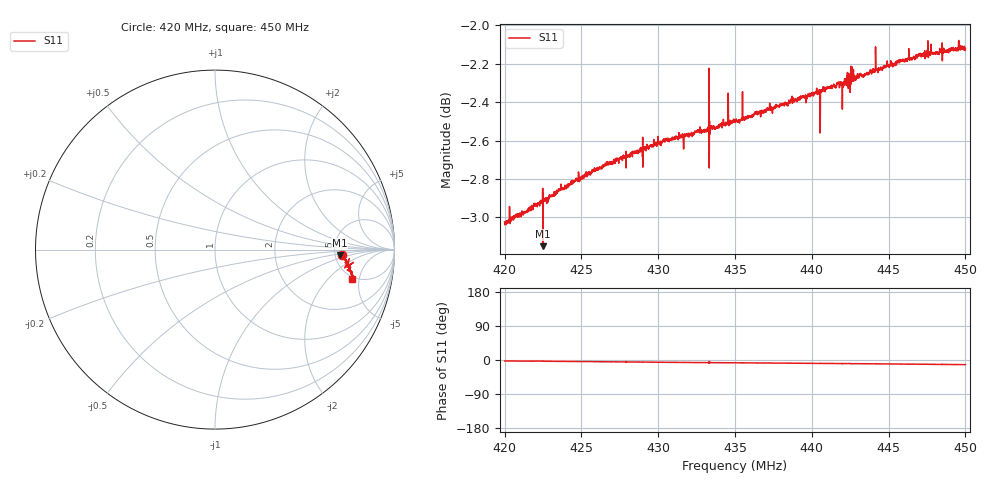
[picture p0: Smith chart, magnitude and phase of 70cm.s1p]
! Calibrated averaged scanner-service zoom
# Hz S RI R 50
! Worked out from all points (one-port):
!   3001 points, 420 MHz to 450 MHz, reference 50 ohm
!   lowest |S11| = -3.1 dB at 422.5 MHz (marker M1), VSWR 5.58, Z = 275 - j32.3 ohm
!   |S11| at or under -10 dB: nowhere
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4.2e8  0.7053 -0.032
4.2249e8  0.6952 -0.0303
4.2375e8  0.7185 -0.0457
4.275e8  0.7305 -0.0638
4.2986e8  0.7362 -0.0757
4.3125e8  0.7382 -0.0819
4.33e8  0.7398 -0.0887
4.3315e8  0.74 -0.0898
4.3318e8  0.74 -0.09
4.332e8  0.741 -0.0903
4.3346e8  0.7422 -0.0916
4.3349e8  0.7415 -0.0918
4.3354e8  0.7413 -0.0898
4.35e8  0.7434 -0.0962
4.3717e8  0.7476 -0.1052
4.3746e8  0.748 -0.1062
4.3875e8  0.7526 -0.1112
4.4036e8  0.7533 -0.1179
4.4048e8  0.755 -0.1184
4.4067e8  0.7545 -0.1196
4.4075e8  0.7552 -0.1183
4.4191e8  0.7574 -0.1248
4.4237e8  0.7584 -0.1311
4.425e8  0.7532 -0.122
4.4405e8  0.7602 -0.1357
4.4625e8  0.7646 -0.1464
4.4762e8  0.7653 -0.1537
4.5e8  0.7655 -0.1663
